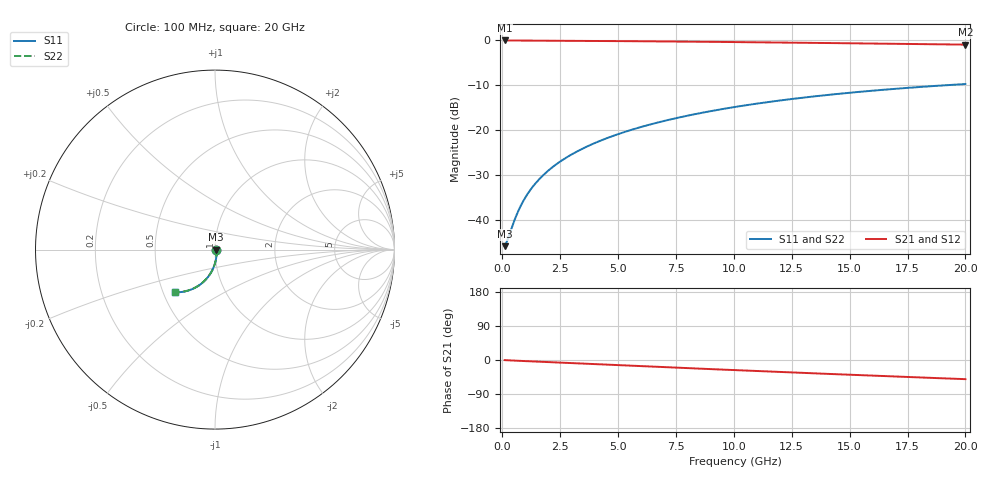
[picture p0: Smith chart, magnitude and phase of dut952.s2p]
! Touchstone file exported from HFSS 2026.1.0
!  File:  C:/ffzhzh/LocalFiles/Ansys_Project_Files/temp_train_TMRDL_952_1783158711_18472.aedt
!  Generated:  05:53:19 PM Jul  4, 2026
!  Design:  TMRDL
!  Project:  temp_train_TMRDL_952_1783158711_18472
! Variables:
!  h_bsmrdl = 2um
!  h_ox = 20um
!  h_rdl = 5um
!  h_sub = 80um
!  h_tmrdl = 3.74um
!  h_tsv = 80um
!  h_via = 3um
!  l_bsmrdl = 300um
!  l_sub = 1213.66um
!  l_tmrdl = 813.66um
!  m_sub = 200um
!  pitch = 17.15um
!  r_tsv = 6um
!  s_tmrdl = 10um
!  w_bsmrdl = 18um
!  w_sub = 500um
!  w_tmrdl = 15.94um
!  x_tsv_center1 = 821.63um
!  x_tsv_center2 = 1139.63um
!  x_tsv_center3 = 1969.23um
!  x_tsv_center4 = 2287.23um
!  x_tsv_center5 = 3116.83um
!  x_tsv_center6 = 3434.83um
# GHz S MA R 50.000000
! Terminal data exported
! Port[1] = TM_RDL1_1_T1
! Port[2] = TM_RDL1_1_T2
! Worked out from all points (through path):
!   200 points, 100 MHz to 20 GHz, reference 50 ohm
!   highest |S21| = -0.04 dB at 100 MHz (marker M1); lowest = -1.0 dB at 20 GHz (marker M2)
!   group delay of S21, straight-line fit = 7.01 ps
!   lowest |S11| = -45.8 dB at 100 MHz (marker M3), VSWR 1.01, Z = 50.5 - j0.0782 ohm
!   |S11| at or under -10 dB: start of sweep to 19.17 GHz
!   |S22| runs from -45.8 to -9.7 dB; largest |S21 - S12| = 4.4e-15
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0.1  0.005114 -8.7  0.9949 -0.3  0.9949 -0.3  0.005114 -8.7
! Gamma 0 0 0 0
! Port Impedance 50 0 50 0
0.2  0.005782 -17.3  0.9945 -0.7  0.9945 -0.7  0.005782 -17.3
0.5  0.009534 -39.1  0.9924 -1.5  0.9924 -1.5  0.009535 -39.1
0.6  0.0111 -44.7  0.9918 -1.8  0.9918 -1.8  0.0111 -44.7
0.8  0.01443 -53.5  0.9909 -2.4  0.9909 -2.4  0.01443 -53.5
0.9  0.01615 -56.9  0.9905 -2.6  0.9905 -2.6  0.01615 -57.0
1.1  0.01965 -62.6  0.9898 -3.2  0.9898 -3.2  0.01964 -62.6
1.4  0.02496 -68.7  0.989 -4.0  0.989 -4.0  0.02496 -68.7
1.8  0.03211 -74.4  0.9881 -5.0  0.9881 -5.0  0.0321 -74.4
2.3  0.04109 -79.2  0.987 -6.4  0.987 -6.4  0.04108 -79.2
2.9  0.05192 -83.4  0.9855 -8.0  0.9855 -8.0  0.05192 -83.4
3.5  0.06281 -86.6  0.9839 -9.6  0.9839 -9.6  0.06281 -86.6
4.2  0.07558 -89.7  0.9816 -11.5  0.9816 -11.5  0.07557 -89.7
5  0.09021 -92.8  0.9788 -13.6  0.9788 -13.6  0.0902 -92.8
5.9  0.1067 -95.8  0.9751 -16.0  0.9751 -16.0  0.1067 -95.9
6.8  0.1231 -98.7  0.9712 -18.4  0.9712 -18.4  0.1231 -98.7
8.4  0.152 -103.4  0.9635 -22.5  0.9635 -22.5  0.152 -103.5
10.1  0.1819 -108.2  0.9545 -26.8  0.9545 -26.8  0.1819 -108.3
11.7  0.209 -112.5  0.9455 -30.8  0.9455 -30.8  0.2089 -112.6
13.4  0.2363 -117.0  0.9354 -35.0  0.9354 -35.0  0.2363 -117.1
16.7  0.2846 -125.3  0.915 -42.9  0.915 -42.9  0.2845 -125.4
20  0.3259 -133.2  0.8943 -50.6  0.8943 -50.6  0.3258 -133.3
